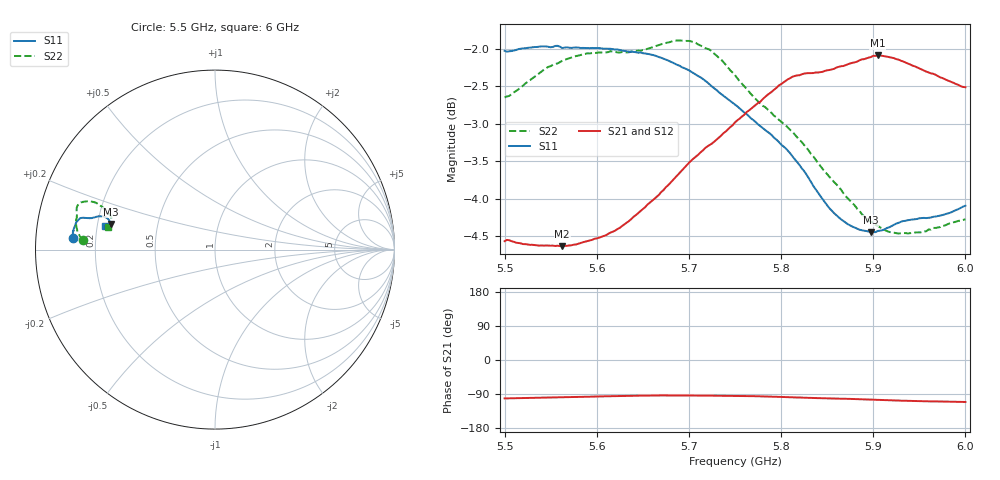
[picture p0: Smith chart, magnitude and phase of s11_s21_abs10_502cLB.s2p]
! MS46122B
! 1919307/90821646
! 7/29/2022 12:53:57 PM
! C:\USERS\PC_\DESKTOP\MEDICIONES\BANCHA ESTRECHA\55_6GHZ\S11_S21_ABS10_502CL.S2P
! CHANNEL.1
! TR.MEASUREMENT
! CORRECTED.DATA
# GHZ S RI R 50.0
! FREQ.GHZ  S11RE  S11IM  S21RE  S21IM  S12RE  S12IM  S22RE  S22IM
!; PortSelection: Port_12
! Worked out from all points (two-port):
!   201 points, 5.5 GHz to 6 GHz, reference 50 ohm
!   highest |S21| = -2.09 dB at 5.905 GHz (marker M1); lowest = -4.6 dB at 5.562 GHz (marker M2)
!   |S21| within 3 dB of the highest: start of sweep to end of sweep
!   lowest |S11| = -4.5 dB at 5.897 GHz (marker M3), VSWR 3.99, Z = 12.7 + j5.69 ohm
!   |S11| at or under -10 dB: nowhere
!   |S22| runs from -4.5 to -1.9 dB; largest |S21 - S12| = 0.015
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5.5  -0.7894 0.0658  -0.1153 -0.5797  -0.1099 -0.5803  -0.7353 0.0536
5.5225  -0.7913 0.0797  -0.105 -0.5789  -0.0973 -0.5765  -0.7501 0.0695
5.5625  -0.7887 0.104  -0.0845 -0.5804  -0.0733 -0.5806  -0.7708 0.1199
5.585  -0.788 0.1103  -0.0745 -0.5853  -0.0621 -0.587  -0.775 0.1434
5.6175  -0.785 0.1199  -0.0563 -0.597  -0.0458 -0.6  -0.774 0.1646
5.6675  -0.7685 0.1576  -0.0396 -0.6336  -0.0294 -0.637  -0.7702 0.2132
5.705  -0.7448 0.1764  -0.043 -0.6698  -0.036 -0.6742  -0.7631 0.2496
5.7225  -0.731 0.1775  -0.0472 -0.6837  -0.0436 -0.6888  -0.7493 0.2614
5.75  -0.7076 0.1759  -0.0601 -0.7071  -0.0569 -0.7092  -0.7139 0.2692
5.7725  -0.6878 0.1753  -0.0722 -0.7253  -0.0653 -0.7275  -0.6854 0.2666
5.805  -0.6565 0.1836  -0.1034 -0.7493  -0.099 -0.752  -0.6578 0.2578
5.835  -0.6168 0.1833  -0.1365 -0.7533  -0.1323 -0.7537  -0.6297 0.2385
5.8625  -0.5905 0.1649  -0.1604 -0.7561  -0.1546 -0.7531  -0.6058 0.214
5.875  -0.5855 0.1545  -0.1704 -0.758  -0.1629 -0.7548  -0.5953 0.2027
5.8975  -0.5816 0.1434  -0.1977 -0.7593  -0.1914 -0.7556  -0.5801 0.1851
5.905  -0.5835 0.1416  -0.2064 -0.7589  -0.199 -0.7547  -0.578 0.1789
5.9175  -0.5874 0.1397  -0.2182 -0.7535  -0.2155 -0.748  -0.5761 0.1657
5.9275  -0.5915 0.1405  -0.2264 -0.7479  -0.2265 -0.7396  -0.5772 0.1565
5.93  -0.5926 0.1401  -0.2335 -0.7445  -0.2225 -0.7402  -0.5787 0.152
5.9575  -0.5959 0.1412  -0.2471 -0.7263  -0.2399 -0.7159  -0.5864 0.1274
5.9725  -0.5989 0.1388  -0.2547 -0.7167  -0.2432 -0.7085  -0.5917 0.1213
6  -0.6106 0.1296  -0.2653 -0.7004  -0.2525 -0.6969  -0.5986 0.1232
